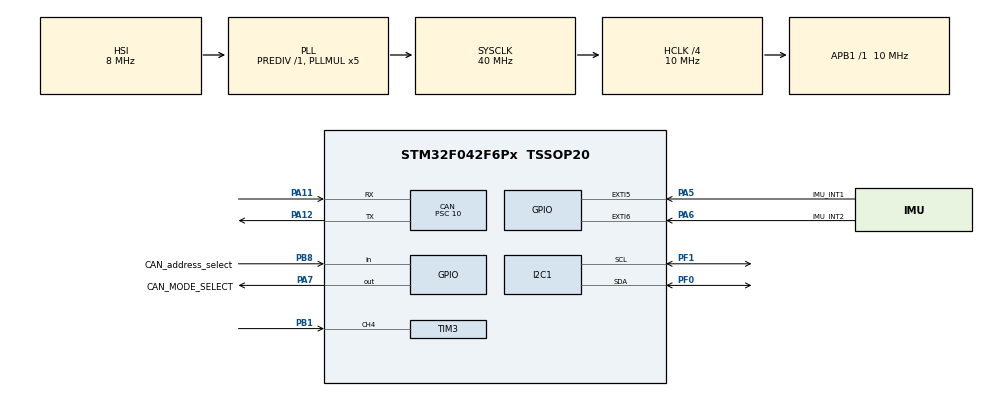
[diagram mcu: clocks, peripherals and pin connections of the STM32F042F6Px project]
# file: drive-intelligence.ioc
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CAN.BS1=CAN_BS1_11TQ
CAN.BS2=CAN_BS2_8TQ
CAN.CalculateBaudRate=50000
CAN.CalculateTimeBit=20000
CAN.CalculateTimeQuantum=1000.0
CAN.Prescaler=10
I2C1.Timing=0x00201D2B
Mcu.Family=STM32F0
Mcu.Name=STM32F042F6Px
Mcu.Package=TSSOP20
NVIC.CEC_CAN_IRQn=true\:0\:0\:false\:false\:true\:true\:true\:true
NVIC.TIM3_IRQn=true\:0\:0\:false\:false\:true\:true\:true\:true
PA11.Mode=CAN_Activate
PA11.Signal=CAN_RX
PA12.Mode=CAN_Activate
PA12.Signal=CAN_TX
PA13.Mode=Serial_Wire
PA13.Signal=SYS_SWDIO
PA14.Mode=Serial_Wire
PA14.Signal=SYS_SWCLK
PA5.GPIO_Label=IMU_INT1
PA5.Signal=GPXTI5
PA6.GPIO_Label=IMU_INT2
PA6.Signal=GPXTI6
PA7.GPIO_Label=CAN_MODE_SELECT
PA7.Signal=GPIO_Output
PB1.Signal=S_TIM3_CH4
PB8.GPIO_Label=CAN_address_select
PB8.GPIO_PuPd=GPIO_PULLUP
PB8.Signal=GPIO_Input
PF0-OSC_IN.GPIO_Pu=GPIO_PULLUP
PF0-OSC_IN.Mode=I2C
PF0-OSC_IN.Signal=I2C1_SDA
PF1-OSC_OUT.GPIO_Pu=GPIO_PULLUP
PF1-OSC_OUT.Mode=I2C
PF1-OSC_OUT.Signal=I2C1_SCL
ProjectManager.HeapSize=0x200
ProjectManager.StackSize=0x400
ProjectManager.TargetToolchain=STM32CubeIDE
RCC.AHBCLKDivider=RCC_SYSCLK_DIV4
RCC.AHBFreq_Value=10000000
RCC.APB1Freq_Value=10000000
RCC.APB1TimFreq_Value=10000000
RCC.HCLKFreq_Value=10000000
RCC.PLLMUL=RCC_PLL_MUL5
RCC.SYSCLKFreq_VALUE=40000000
RCC.SYSCLKSource=RCC_SYSCLKSOURCE_PLLCLK
SH.S_TIM3_CH4.0=TIM3_CH4,Input_Capture4_from_TI4
TIM3.AutoReloadPreload=TIM_AUTORELOAD_PRELOAD_ENABLE
TIM3.Channel-Input_Capture4_from_TI4=TIM_CHANNEL_4
VP_SYS_VS_PINREMAP.Mode=PINREMAP
VP_TIM3_VS_ClockSourceINT.Mode=Internal
board=custom

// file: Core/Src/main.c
/* USER CODE BEGIN Header */
/**
  ******************************************************************************
  * @file           : main.c
  * @brief          : Main program body
  ******************************************************************************
  * @attention
  *
  * Copyright (c) 2024 STMicroelectronics.
  * All rights reserved.
  *
  * This software is licensed under terms that can be found in the LICENSE file
  * in the root directory of this software component.
  * If no LICENSE file comes with this software, it is provided AS-IS.
  *
  ******************************************************************************
  */
/* USER CODE END Header */
#include "main.h"

/* USER CODE BEGIN Includes */
#include "lsm6dsm_reg.h"
#include <stdio.h>
#include <stdarg.h>
#include <string.h>
#include <math.h>
/* USER CODE END Includes */

/* USER CODE BEGIN PD */
#define    SENSOR_BUS hi2c1

#define IDLE   0
#define DONE   1
#define F_CLK  10000000UL
/* USER CODE END PD */

CAN_HandleTypeDef hcan;

I2C_HandleTypeDef hi2c1;

TIM_HandleTypeDef htim3;

/* USER CODE BEGIN PV */
volatile uint8_t gu8_State = IDLE;
volatile uint8_t gu8_MSG[35] = {'\0'};
volatile uint32_t gu32_T1 = 0;
volatile uint32_t gu32_T2 = 0;
volatile uint32_t gu32_Ticks = 0;
volatile uint16_t gu16_TIM2_OVC = 0;
volatile uint32_t gu32_Freq = 0;
volatile float f_meters_per_second = 0;

uint32_t canAddress;
uint32_t driveCanAddress;
CAN_TxHeaderTypeDef TxHeaderDrive;
CAN_TxHeaderTypeDef TxHeaderMain;
uint8_t TxHeaderDriveData[6];
uint32_t TxMailbox;

static int16_t data_raw_acceleration[3];
static int16_t data_raw_angular_rate[3];
static int16_t data_raw_temperature;
static float acceleration_mg[3];
static float angular_rate_mdps[3];
static float temperature_degC;
static uint8_t whoamI, rst;
stmdev_ctx_t dev_ctx;
/* USER CODE END PV */

void SystemClock_Config(void);
static void MX_GPIO_Init(void);
static void MX_CAN_Init(void);
static void MX_I2C1_Init(void);
static void MX_TIM3_Init(void);
/* USER CODE BEGIN PFP */
static int32_t platform_write(void *handle, uint8_t reg, const uint8_t *bufp, uint16_t len);
static int32_t platform_read(void *handle, uint8_t reg, uint8_t *bufp, uint16_t len);
void lsm6_init(void);
void get_lsm6_data(void);
/* USER CODE END PFP */

int main(void)
{

  /* MCU Configuration--------------------------------------------------------*/

  /* Reset of all peripherals, Initializes the Flash interface and the Systick. */
  HAL_Init();

  /* Configure the system clock */
  SystemClock_Config();

  /* Initialize all configured peripherals */
  MX_GPIO_Init();
  MX_CAN_Init();
  MX_I2C1_Init();
  MX_TIM3_Init();
  /* USER CODE BEGIN 2 */
  TxHeaderDrive.IDE = CAN_ID_STD;
  TxHeaderDrive.StdId = driveCanAddress;
  TxHeaderDrive.RTR = CAN_RTR_DATA;
  TxHeaderDrive.DLC = 5;
  TxHeaderDriveData[0] = driveCanAddress;
  TxHeaderDriveData[1] = 0x01;

  TxHeaderMain.IDE = CAN_ID_STD;
  TxHeaderMain.StdId = driveCanAddress;
  TxHeaderMain.RTR = CAN_RTR_DATA;
  TxHeaderMain.DLC = 2;

  HAL_Delay(100);
  lsm6_init();
  /* USER CODE END 2 */

  /* Infinite loop */
  /* USER CODE BEGIN WHILE */
  while (1)
  {
	  uint32_t f_int = *(uint32_t*) &f_meters_per_second;
	  // Convert the integer to a byte array
	  for (int i = 2; i < sizeof(f_int) + 2; i++) {
		  TxHeaderDriveData[i] = (char) (f_int >> (8 * (sizeof(float) - 1 - i)));
	  }
	  HAL_CAN_AddTxMessage(&hcan, &TxHeaderDrive, TxHeaderDriveData, &TxMailbox);

	  get_lsm6_data();
    /* USER CODE END WHILE */

  }
}

void SystemClock_Config(void)
{
  RCC_OscInitTypeDef RCC_OscInitStruct = {0};
  RCC_ClkInitTypeDef RCC_ClkInitStruct = {0};
  RCC_PeriphCLKInitTypeDef PeriphClkInit = {0};

  /** Initializes the RCC Oscillators according to the specified parameters
  * in the RCC_OscInitTypeDef structure.
  */
  RCC_OscInitStruct.OscillatorType = RCC_OSCILLATORTYPE_HSI;
  RCC_OscInitStruct.HSIState = RCC_HSI_ON;
  RCC_OscInitStruct.HSICalibrationValue = RCC_HSICALIBRATION_DEFAULT;
  RCC_OscInitStruct.PLL.PLLState = RCC_PLL_ON;
  RCC_OscInitStruct.PLL.PLLSource = RCC_PLLSOURCE_HSI;
  RCC_OscInitStruct.PLL.PLLMUL = RCC_PLL_MUL5;
  RCC_OscInitStruct.PLL.PREDIV = RCC_PREDIV_DIV1;
  if (HAL_RCC_OscConfig(&RCC_OscInitStruct) != HAL_OK)
  {
    Error_Handler();
  }

  /** Initializes the CPU, AHB and APB buses clocks
  */
  RCC_ClkInitStruct.ClockType = RCC_CLOCKTYPE_HCLK|RCC_CLOCKTYPE_SYSCLK
                              |RCC_CLOCKTYPE_PCLK1;
  RCC_ClkInitStruct.SYSCLKSource = RCC_SYSCLKSOURCE_PLLCLK;
  RCC_ClkInitStruct.AHBCLKDivider = RCC_SYSCLK_DIV4;
  RCC_ClkInitStruct.APB1CLKDivider = RCC_HCLK_DIV1;

  if (HAL_RCC_ClockConfig(&RCC_ClkInitStruct, FLASH_LATENCY_1) != HAL_OK)
  {
    Error_Handler();
  }
  PeriphClkInit.PeriphClockSelection = RCC_PERIPHCLK_I2C1;
  PeriphClkInit.I2c1ClockSelection = RCC_I2C1CLKSOURCE_HSI;
  if (HAL_RCCEx_PeriphCLKConfig(&PeriphClkInit) != HAL_OK)
  {
    Error_Handler();
  }
}

static void MX_CAN_Init(void)
{

  /* USER CODE BEGIN CAN_Init 0 */
	if (HAL_GPIO_ReadPin(CAN_address_select_GPIO_Port,
			CAN_address_select_Pin)) {
		// right motor
		canAddress = 0x15;
		driveCanAddress = 0x13;
	} else {
		// left motor
		canAddress = 0x14;
		driveCanAddress = 0x12;
	}
  /* USER CODE END CAN_Init 0 */

  hcan.Instance = CAN;
  hcan.Init.Prescaler = 10;
  hcan.Init.Mode = CAN_MODE_NORMAL;
  hcan.Init.SyncJumpWidth = CAN_SJW_1TQ;
  hcan.Init.TimeSeg1 = CAN_BS1_11TQ;
  hcan.Init.TimeSeg2 = CAN_BS2_8TQ;
  hcan.Init.TimeTriggeredMode = DISABLE;
  hcan.Init.AutoBusOff = DISABLE;
  hcan.Init.AutoWakeUp = DISABLE;
  hcan.Init.AutoRetransmission = DISABLE;
  hcan.Init.ReceiveFifoLocked = DISABLE;
  hcan.Init.TransmitFifoPriority = DISABLE;
  if (HAL_CAN_Init(&hcan) != HAL_OK)
  {
    Error_Handler();
  }
  /* USER CODE BEGIN CAN_Init 2 */
  CAN_FilterTypeDef canfilterconfig;

  canfilterconfig.FilterBank = 0; // Use filter bank 0
  canfilterconfig.FilterMode = CAN_FILTERMODE_IDLIST; // Mask mode
  canfilterconfig.FilterScale = CAN_FILTERSCALE_16BIT;
  canfilterconfig.FilterIdHigh = (canAddress << 5); // 11-bit ID shifted to high register
  canfilterconfig.FilterIdLow = (canAddress << 5); // 11-bit ID shifted to low register
  canfilterconfig.FilterMaskIdHigh = (canAddress << 5); // Exact match for ID
  canfilterconfig.FilterMaskIdLow = (canAddress << 5); // Exact match for ID
  canfilterconfig.FilterFIFOAssignment = CAN_RX_FIFO0; // Use FIFO 0
  canfilterconfig.FilterActivation = ENABLE;

  HAL_CAN_ConfigFilter(&hcan, &canfilterconfig);
  /* USER CODE END CAN_Init 2 */

}

static void MX_I2C1_Init(void)
{

  hi2c1.Instance = I2C1;
  hi2c1.Init.Timing = 0x00201D2B;
  hi2c1.Init.OwnAddress1 = 0;
  hi2c1.Init.AddressingMode = I2C_ADDRESSINGMODE_7BIT;
  hi2c1.Init.DualAddressMode = I2C_DUALADDRESS_DISABLE;
  hi2c1.Init.OwnAddress2 = 0;
  hi2c1.Init.OwnAddress2Masks = I2C_OA2_NOMASK;
  hi2c1.Init.GeneralCallMode = I2C_GENERALCALL_DISABLE;
  hi2c1.Init.NoStretchMode = I2C_NOSTRETCH_DISABLE;
  if (HAL_I2C_Init(&hi2c1) != HAL_OK)
  {
    Error_Handler();
  }

  /** Configure Analogue filter
  */
  if (HAL_I2CEx_ConfigAnalogFilter(&hi2c1, I2C_ANALOGFILTER_ENABLE) != HAL_OK)
  {
    Error_Handler();
  }

  /** Configure Digital filter
  */
  if (HAL_I2CEx_ConfigDigitalFilter(&hi2c1, 0) != HAL_OK)
  {
    Error_Handler();
  }

}

static void MX_TIM3_Init(void)
{

  TIM_ClockConfigTypeDef sClockSourceConfig = {0};
  TIM_MasterConfigTypeDef sMasterConfig = {0};
  TIM_IC_InitTypeDef sConfigIC = {0};

  htim3.Instance = TIM3;
  htim3.Init.Prescaler = 0;
  htim3.Init.CounterMode = TIM_COUNTERMODE_UP;
  htim3.Init.Period = 65535;
  htim3.Init.ClockDivision = TIM_CLOCKDIVISION_DIV1;
  htim3.Init.AutoReloadPreload = TIM_AUTORELOAD_PRELOAD_ENABLE;
  if (HAL_TIM_Base_Init(&htim3) != HAL_OK)
  {
    Error_Handler();
  }
  sClockSourceConfig.ClockSource = TIM_CLOCKSOURCE_INTERNAL;
  if (HAL_TIM_ConfigClockSource(&htim3, &sClockSourceConfig) != HAL_OK)
  {
    Error_Handler();
  }
  if (HAL_TIM_IC_Init(&htim3) != HAL_OK)
  {
    Error_Handler();
  }
  sMasterConfig.MasterOutputTrigger = TIM_TRGO_RESET;
  sMasterConfig.MasterSlaveMode = TIM_MASTERSLAVEMODE_DISABLE;
  if (HAL_TIMEx_MasterConfigSynchronization(&htim3, &sMasterConfig) != HAL_OK)
  {
    Error_Handler();
  }
  sConfigIC.ICPolarity = TIM_INPUTCHANNELPOLARITY_RISING;
  sConfigIC.ICSelection = TIM_ICSELECTION_DIRECTTI;
  sConfigIC.ICPrescaler = TIM_ICPSC_DIV1;
  sConfigIC.ICFilter = 0;
  if (HAL_TIM_IC_ConfigChannel(&htim3, &sConfigIC, TIM_CHANNEL_4) != HAL_OK)
  {
    Error_Handler();
  }

}

static void MX_GPIO_Init(void)
{
  GPIO_InitTypeDef GPIO_InitStruct = {0};

  /* GPIO Ports Clock Enable */
  __HAL_RCC_GPIOB_CLK_ENABLE();
  __HAL_RCC_GPIOF_CLK_ENABLE();
  __HAL_RCC_GPIOA_CLK_ENABLE();

  /*Configure GPIO pin Output Level */
  HAL_GPIO_WritePin(CAN_MODE_SELECT_GPIO_Port, CAN_MODE_SELECT_Pin, GPIO_PIN_RESET);

  /*Configure GPIO pin : CAN_address_select_Pin */
  GPIO_InitStruct.Pin = CAN_address_select_Pin;
  GPIO_InitStruct.Mode = GPIO_MODE_INPUT;
  GPIO_InitStruct.Pull = GPIO_PULLUP;
  HAL_GPIO_Init(CAN_address_select_GPIO_Port, &GPIO_InitStruct);

  /*Configure GPIO pins : IMU_INT1_Pin IMU_INT2_Pin */
  GPIO_InitStruct.Pin = IMU_INT1_Pin|IMU_INT2_Pin;
  GPIO_InitStruct.Mode = GPIO_MODE_IT_RISING;
  GPIO_InitStruct.Pull = GPIO_NOPULL;
  HAL_GPIO_Init(GPIOA, &GPIO_InitStruct);

  /*Configure GPIO pin : CAN_MODE_SELECT_Pin */
  GPIO_InitStruct.Pin = CAN_MODE_SELECT_Pin;
  GPIO_InitStruct.Mode = GPIO_MODE_OUTPUT_PP;
  GPIO_InitStruct.Pull = GPIO_NOPULL;
  GPIO_InitStruct.Speed = GPIO_SPEED_FREQ_LOW;
  HAL_GPIO_Init(CAN_MODE_SELECT_GPIO_Port, &GPIO_InitStruct);

}

/* USER CODE BEGIN 4 */

void lsm6_init(void){
	dev_ctx.write_reg = platform_write;
	dev_ctx.read_reg = platform_read;
	dev_ctx.handle = &SENSOR_BUS;

	lsm6dsm_i2c_interface_set(&dev_ctx, 0);
	lsm6dsm_device_id_get(&dev_ctx, &whoamI);

	do {
		lsm6dsm_reset_get(&dev_ctx, &rst);
	} while (rst);

	/*  Enable Block Data Update */
	lsm6dsm_block_data_update_set(&dev_ctx, PROPERTY_ENABLE);
	/* Set Output Data Rate for Acc and Gyro */
	lsm6dsm_xl_data_rate_set(&dev_ctx, LSM6DSM_XL_ODR_12Hz5);
	lsm6dsm_gy_data_rate_set(&dev_ctx, LSM6DSM_GY_ODR_12Hz5);
	/* Set full scale */
	lsm6dsm_xl_full_scale_set(&dev_ctx, LSM6DSM_2g);
	lsm6dsm_gy_full_scale_set(&dev_ctx, LSM6DSM_2000dps);
	/* Configure filtering chain(No aux interface)
	 * Accelerometer - analog filter
	 */
	lsm6dsm_xl_filter_analog_set(&dev_ctx, LSM6DSM_XL_ANA_BW_400Hz);
	/* Accelerometer - LPF1 path (LPF2 not used) */
	//lsm6dsm_xl_lp1_bandwidth_set(&dev_ctx, LSM6DSM_XL_LP1_ODR_DIV_4);
	/* Accelerometer - LPF1 + LPF2 path */
	lsm6dsm_xl_lp2_bandwidth_set(&dev_ctx, LSM6DSM_XL_LOW_NOISE_LP_ODR_DIV_100);
	/* Accelerometer - High Pass / Slope path */
	//lsm6dsm_xl_reference_mode_set(&dev_ctx, PROPERTY_DISABLE);
	//lsm6dsm_xl_hp_bandwidth_set(&dev_ctx, LSM6DSM_XL_HP_ODR_DIV_100);
	/* Gyroscope - filtering chain */
	lsm6dsm_gy_band_pass_set(&dev_ctx, LSM6DSM_HP_260mHz_LP1_STRONG);

	HAL_TIM_Base_Start_IT(&htim3);
	HAL_TIM_IC_Start_IT(&htim3, TIM_CHANNEL_4);
}

void get_lsm6_data(void){
	lsm6dsm_reg_t reg;
	/* Read output only if new value is available */
	lsm6dsm_status_reg_get(&dev_ctx, &reg.status_reg);

	if (reg.status_reg.xlda) {
		/* Read acceleration field data */
		memset(data_raw_acceleration, 0x00, 3 * sizeof(int16_t));
		lsm6dsm_acceleration_raw_get(&dev_ctx, data_raw_acceleration);
		acceleration_mg[0] = lsm6dsm_from_fs2g_to_mg(data_raw_acceleration[0]);
		acceleration_mg[1] = lsm6dsm_from_fs2g_to_mg(data_raw_acceleration[1]);
		acceleration_mg[2] = lsm6dsm_from_fs2g_to_mg(data_raw_acceleration[2]);
	}

	if (reg.status_reg.gda) {
		/* Read angular rate field data */
		memset(data_raw_angular_rate, 0x00, 3 * sizeof(int16_t));
		lsm6dsm_angular_rate_raw_get(&dev_ctx, data_raw_angular_rate);
		angular_rate_mdps[0] = lsm6dsm_from_fs2000dps_to_mdps(
				data_raw_angular_rate[0]);
		angular_rate_mdps[1] = lsm6dsm_from_fs2000dps_to_mdps(
				data_raw_angular_rate[1]);
		angular_rate_mdps[2] = lsm6dsm_from_fs2000dps_to_mdps(
				data_raw_angular_rate[2]);
	}

	if (reg.status_reg.tda) {
		/* Read temperature data */
		memset(&data_raw_temperature, 0x00, sizeof(int16_t));
		lsm6dsm_temperature_raw_get(&dev_ctx, &data_raw_temperature);
		temperature_degC = lsm6dsm_from_lsb_to_celsius(data_raw_temperature);
	}
}

/*
 * @brief  Write generic device register (platform dependent)
 *
 * @param  handle    customizable argument. In this examples is used in
 *                   order to select the correct sensor bus handler.
 * @param  reg       register to write
 * @param  bufp      pointer to data to write in register reg
 * @param  len       number of consecutive register to write
 *
 */
static int32_t platform_write(void *handle, uint8_t reg, const uint8_t *bufp, uint16_t len)
{
  HAL_I2C_Mem_Write(handle, LSM6DSM_I2C_ADD_L, reg, I2C_MEMADD_SIZE_8BIT, (uint8_t*) bufp, len, 1000);
  return 0;
}

/*
 * @brief  Read generic device register (platform dependent)
 *
 * @param  handle    customizable argument. In this examples is used in
 *                   order to select the correct sensor bus handler.
 * @param  reg       register to read
 * @param  bufp      pointer to buffer that store the data read
 * @param  len       number of consecutive register to read
 *
 */
static int32_t platform_read(void *handle, uint8_t reg, uint8_t *bufp, uint16_t len)
{
  HAL_I2C_Mem_Read(handle, LSM6DSM_I2C_ADD_L, reg, I2C_MEMADD_SIZE_8BIT, bufp, len, 1000);
  return 0;
}

void HAL_TIM_IC_CaptureCallback(TIM_HandleTypeDef* htim)
{
    if(gu8_State == IDLE)
    {
        gu32_T1 = TIM2->CCR1;
        gu16_TIM2_OVC = 0;
        gu8_State = DONE;
    }
    else if(gu8_State == DONE)
    {
        gu32_T2 = TIM2->CCR1;
        gu32_Ticks = (gu32_T2 + (gu16_TIM2_OVC * 65536)) - gu32_T1;
        gu32_Freq = (uint32_t)(F_CLK/gu32_Ticks);
        f_meters_per_second = (1.0/(1.0/(float)gu32_Freq) * 61.784655521) / 1000.0;
        gu8_State = IDLE;
    }
}

void HAL_TIM_PeriodElapsedCallback(TIM_HandleTypeDef* htim)
{
    gu16_TIM2_OVC++;
}
/* USER CODE END 4 */

void Error_Handler(void)
{
  __disable_irq();
  while (1)
  {
  }
}
